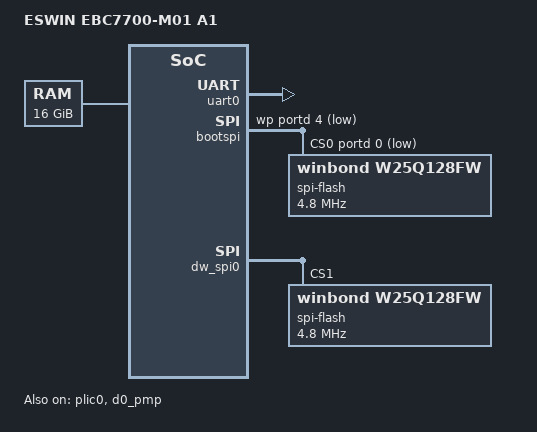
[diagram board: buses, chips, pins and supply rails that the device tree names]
// SPDX-License-Identifier: GPL-2.0
/*
 * Device Tree file for Eswin EIC7700 SoC.
 *
 * Copyright 2024, Beijing ESWIN Computing Technology Co., Ltd.. All rights reserved.
 * SPDX-License-Identifier: GPL-2.0
 *
 * This program is free software: you can redistribute it and/or modify
 * it under the terms of the GNU General Public License as published by
 * the Free Software Foundation, version 2.
 *
 * This program is distributed in the hope that it will be useful,
 * but WITHOUT ANY WARRANTY; without even the implied warranty of
 * MERCHANTABILITY or FITNESS FOR A PARTICULAR PURPOSE.  See the
 * GNU General Public License for more details.
 *
 * You should have received a copy of the GNU General Public License
 * along with this program.  If not, see <https://www.gnu.org/licenses/>.
 */

#include <dt-bindings/gpio/gpio.h>
#include <dt-bindings/soc/eswin-pmp.h>
#include "eic770x.dtsi"
#include "dt-bindings/media/eswin_mipi_dsi.h"
#include "media_bus_format.h"
/ {
	#address-cells = <2>;
	#size-cells = <2>;
	model = "ESWIN EBC7700-M01 A1";


	aliases {
		serial0 = &uart0;
		i2c0 = &i2c0;
		i2c1 = &i2c1;
		i2c2 = &i2c2;
		i2c3 = &i2c3;
		i2c4 = &i2c4;
		i2c5 = &i2c5;
		i2c6 = &i2c6;
		i2c7 = &i2c7;
		i2c8 = &i2c8;
		i2c9 = &i2c9;
		i2c11 = &i2c11;
		i2c12 = &i2c12;
		gpio0 = &gpio0;
		spi0 = &bootspi;
		spi1 = &dw_spi0;
	};

	chosen {
		stdout-path = "serial0";
	};

	memory@80000000 {
		device_type = "memory";
		reg = <0x0 0x80000000 0x4 0x00000000>;
	};
	reserved-memory {
		#address-cells = <2>;
		#size-cells = <2>;
		ranges;

		display_reserved: region@E0000000 {
			reg = <0x0 0xE0000000 0x0 0x2000000>;
			no-map;
		};

		lpcpu_reserved: lpcpures@DFFF0000 {
			reg = <0x00 0xDFFF0000 0x00 0x00010000>;
			no-map;
		};
	};
	soc {
		#address-cells = <2>;
		#size-cells = <2>;
		compatible = "SiFive,FU800-soc", "fu800-soc", "sifive-soc", "simple-bus";
		ranges;
	};
	leds {
		compatible = "gpio-leds";
		pinctrl-names = "default";
	};

};
&cpu0 {
	status = "okay";
};
&cpu1 {
	status = "okay";
};
&cpu2 {
	status = "okay";
};
&cpu3 {
	status = "okay";
};
&plic0{
	status = "okay";
};
&d0_mbox {
	status = "okay";
};
&d0_mbox_srvc {
	status = "okay";
};
&d0_mbox1 {
	status = "okay";
};
&d0_mbox_srvc1 {
	status = "okay";
};
&d0_pmp {
	status = "okay";
};
&uart0 {
	status = "okay";
};
&uart1 {
	status = "disabled";
};
&bootspi {
	status = "okay";
	cs-gpios = <&portd 0 GPIO_ACTIVE_LOW>;
	wp-gpios = <&portd 4 GPIO_ACTIVE_LOW>;
	spi-flash@0 {
		reg = <0>;
		compatible = "winbond,w25q128fw",
			"jedec,spi-nor";
		spi-max-frequency = <4800000>;
	};
};
&dw_spi0 {
	status = "okay";
	spi-flash@1 {
		reg = <1>;
		compatible = "winbond,w25q128fw",
			"jedec,spi-nor";
		spi-max-frequency = <4800000>;
	};
};
&sd {
	status = "disabled";
	delay_code = <0x55>;
	drive-impedance-ohm = <33>;
	enable-cmd-pullup;
	enable-data-pullup;
};

&sdhci_emmc {
	status = "disabled";
	delay_code = <0x55>;
	drive-impedance-ohm = <50>;
	enable-cmd-pullup;
	enable-data-pullup;
	mmc-hs200-1_8v;
	mmc-hs400-1_8v;
};

&eswin_sata {
	status = "disabled";
};

&eth0 {
	status = "disabled";
};

&eth1 {
	status = "disabled";
};

&pcie {
	status = "disabled";
};
&display_logo {
	status = "disabled";
};
&mipi_dsi {
	status = "disabled";
};
&dwc3_typec0 {
	status = "disabled";
};
&usb0 {
	status = "disabled";
};
&usb1 {
	status = "disabled";
};
&hdmi {
	status = "disabled";
};
&display_subsystem {
	status = "disabled";
};
&route_hdmi {
	status = "disabled";
};
&route_mipi {
	status = "disabled";
};
&osd {
	status = "disabled";
};
&i2c0 {
	status = "disabled";
};
&i2c2 {
	status = "disabled";
};
&i2c3 {
	status = "disabled";
};
&i2c5 {
	status = "disabled";
	eeprom@50 {
		compatible = "atmel,24c02";
		reg = <0x50>;
		pagesize = <8>;
	};
};
&i2c11 {
	status = "disabled";
	rtc@51 {
		compatible = "nxp,pcf8563";
		reg = <0x51>;
	};
};

&gpio0 {
	status = "okay";
};

&pinctrl {
	status = "okay";
};
